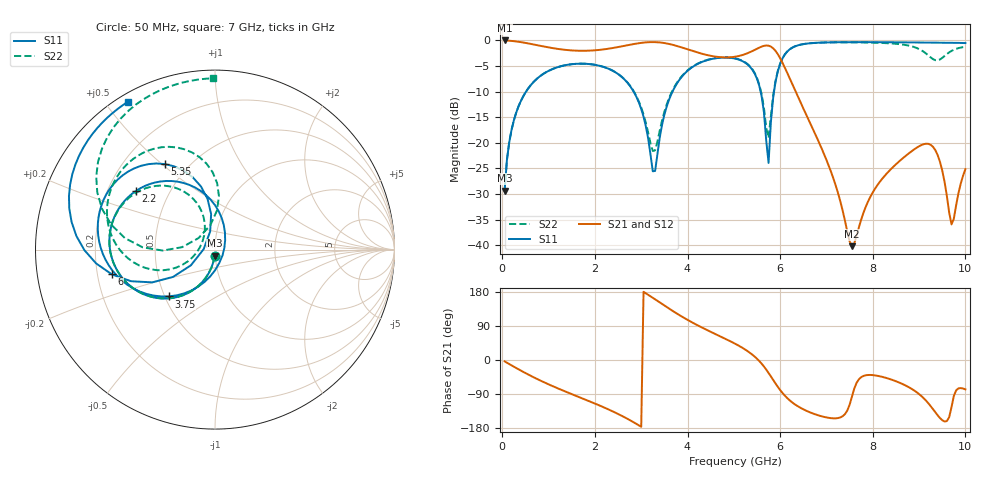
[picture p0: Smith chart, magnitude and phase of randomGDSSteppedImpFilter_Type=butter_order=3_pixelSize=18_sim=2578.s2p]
! freq	dB(S11)	phase(S11)	dB(S12)	phase(S12)
!  dB(S21)	phase(S21)	dB(S22)	phase(S22)
!S-par simulation data
#  GHz  S  DB  R 50
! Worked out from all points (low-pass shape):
!   200 points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, 50 MHz to 10 GHz, reference 50 ohm
!   highest |S21| = -0.01 dB at 50 MHz (marker M1); lowest = -40.2 dB at 7.55 GHz (marker M2)
!   |S21| within 3 dB of the highest: start of sweep to 4.501 GHz; 5.123 GHz to 5.97 GHz (846.7 MHz wide, 15.3 % of centre)
!   lowest |S11| = -29.3 dB at 50 MHz (marker M3), VSWR 1.07, Z = 49.7 - j3.4 ohm
!   |S11| at or under -10 dB: start of sweep to 512.8 MHz; 2.836 GHz to 3.676 GHz (840.3 MHz wide, 25.8 % of centre); 5.578 GHz to 5.868 GHz (290.4 MHz wide, 5.07 % of centre)
!   |S22| runs from -29.3 to -0.4 dB; largest |S21 - S12| = 0
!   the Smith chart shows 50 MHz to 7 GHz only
!   S11 on the Smith chart (normalised r, x): 50 MHz: 0.99, -0.07; 2.2 GHz: 0.32, +0.30; 3.75 GHz: 0.53, -0.32; 5.35 GHz: 0.37, +0.51; 6 GHz: 0.26, -0.11; 7 GHz: 0.03, +0.57
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0.05  -29.31 -93.8  -0.01 -3.6  -0.01 -3.6  -29.32 -93.8
0.5  -10.17 -125.0  -0.49 -34.5  -0.49 -34.5  -10.18 -125.0
1.75  -4.54 166.9  -2.03 -102.4  -2.03 -102.4  -4.54 167.8
2.2  -5.22 143.4  -1.74 -125.3  -1.74 -125.3  -5.21 146.0
2.9  -11.10 94.9  -0.61 -168.9  -0.61 -168.9  -10.96 111.6
3.25  -25.56 9.7  -0.33 164.1  -0.33 164.1  -21.61 146.6
3.4  -18.96 -89.0  -0.40 151.9  -0.40 151.9  -17.60 -161.2
3.75  -8.72 -134.6  -1.03 124.0  -1.03 124.0  -8.56 -162.9
5.05  -3.60 141.3  -3.15 41.5  -3.15 41.5  -3.55 123.7
5.35  -5.17 120.3  -2.29 18.8  -2.29 18.8  -5.08 103.4
5.6  -10.89 98.3  -1.21 -9.7  -1.21 -9.7  -10.48 85.8
5.75  -23.93 178.4  -1.03 -34.1  -1.03 -34.1  -19.04 144.6
6  -4.57 -166.5  -3.48 -79.2  -3.48 -79.2  -4.51 166.5
6.7  -0.51 134.1  -17.16 -140.8  -17.16 -140.8  -0.52 106.5
7  -0.39 120.5  -23.34 -151.6  -23.34 -151.6  -0.40 90.7
7.55  -0.34 100.0  -40.18 -96.6  -40.18 -96.6  -0.38 64.5
8.35  -0.36 73.4  -25.52 -49.6  -25.52 -49.6  -0.56 20.9
8.8  -0.39 58.9  -21.90 -73.3  -21.90 -73.3  -1.06 -18.2
9.1  -0.43 49.3  -20.26 -100.9  -20.26 -100.9  -2.22 -68.3
9.4  -0.44 39.5  -22.37 -145.7  -22.37 -145.7  -3.89 -175.0
9.65  -0.45 31.0  -33.62 -150.8  -33.62 -150.8  -2.34 95.1
10  -0.52 18.7  -25.14 -77.5  -25.14 -77.5  -1.27 29.9
